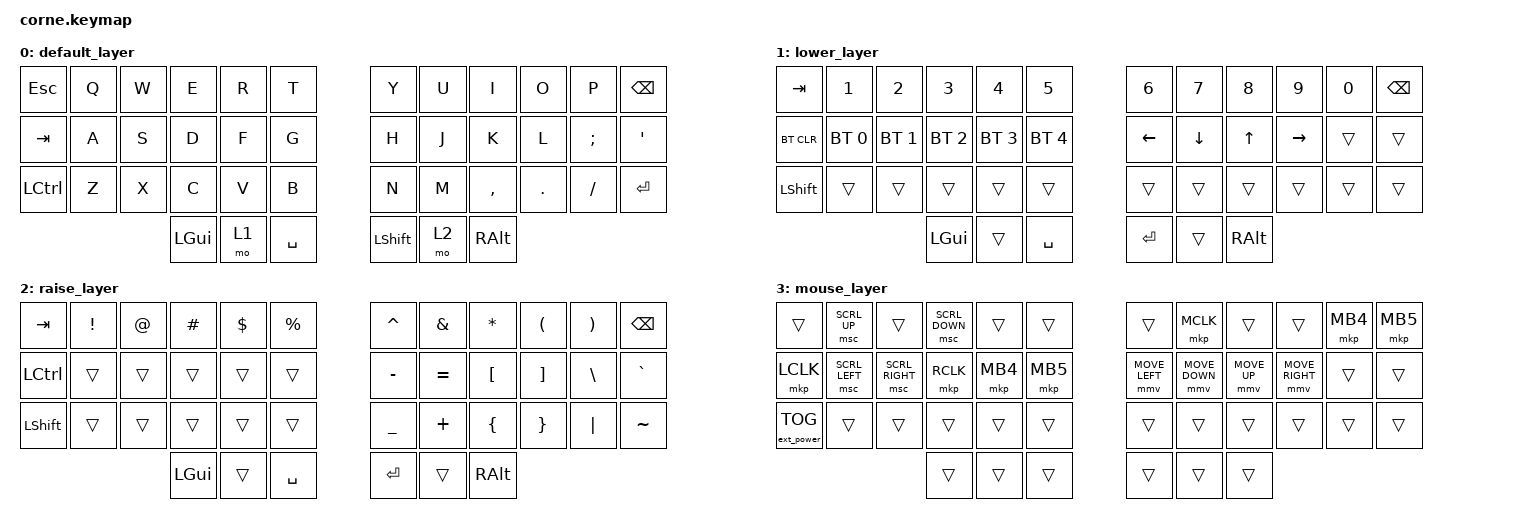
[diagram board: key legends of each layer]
/*
 * Copyright (c) 2020 The ZMK Contributors
 *
 * SPDX-License-Identifier: MIT
 */


#include <behaviors.dtsi>
#include <dt-bindings/zmk/keys.h>
#include <dt-bindings/zmk/bt.h>
#include <dt-bindings/zmk/pointing.h>
#include <dt-bindings/zmk/ext_power.h>

/ {
macros {
        ZMK_MACRO(passwd_macro,
            label = "LUBKRF_PASSWD";
            wait-ms = <30>;
            tap-ms = <30>;
            bindings = <&kp L &kp U &kp B &kp K &kp R &kp F>;
        )
        ZMK_MACRO(power_macro,
            label = "LUBKRF_power";
            wait-ms = <30>;
            tap-ms = <30>;
            bindings = <&ext_power EP_TOG>;
        )

    };
        keymap {
                compatible = "zmk,keymap";

                default_layer {
// -----------------------------------------------------------------------------------------
// |  TAB |  Q  |  W  |  E  |  R  |  T  |   |  Y  |  U   |  I  |  O  |  P  | BSPC |
// | CTRL |  A  |  S  |  D  |  F  |  G  |   |  H  |  J   |  K  |  L  |  ;  |  '   |
// | SHFT |  Z  |  X  |  C  |  V  |  B  |   |  N  |  M   |  ,  |  .  |  /  | ESC  |
//                    | GUI | LWR | SPC |   | ENT | RSE  | ALT |
                        bindings = <
   &kp ESC   &kp Q &kp W &kp E &kp R &kp T   &kp Y &kp U  &kp I     &kp O   &kp P    &kp BSPC
   &kp TAB   &kp A &kp S &kp D &kp F &kp G   &kp H &kp J  &kp K     &kp L   &kp SEMI &kp SQT
   &kp LCTRL  &kp Z &kp X &kp C &kp V &kp B   &kp N &kp M  &kp COMMA &kp DOT &kp FSLH  &kp RET
                  &kp LGUI &mo 1 &kp SPACE   &kp LSHFT &mo 2 &kp RALT
                        >;
                };
                lower_layer {
// -----------------------------------------------------------------------------------------
// |  TAB |  1  |  2  |  3  |  4  |  5  |   |  6  |  7  |  8  |  9  |  0  | BSPC |
// | BTCLR| BT1 | BT2 | BT3 | BT4 | BT5 |   | LFT | DWN |  UP | RGT |     |      |
// | SHFT |     |     |     |     |     |   |     |     |     |     |     |      |
//                    | GUI |     | SPC |   | ENT |     | ALT |
                        bindings = <
   &kp TAB    &kp N1       &kp N2       &kp N3       &kp N4       &kp N5         &kp N6   &kp N7   &kp N8 &kp N9    &kp N0 &kp BSPC
   &bt BT_CLR &bt BT_SEL 0 &bt BT_SEL 1 &bt BT_SEL 2 &bt BT_SEL 3 &bt BT_SEL 4   &kp LEFT &kp DOWN &kp UP &kp RIGHT &trans &trans
   &kp LSHFT  &trans       &trans       &trans       &trans       &trans         &trans   &trans   &trans &trans    &trans &trans
                                    &kp LGUI     &trans       &kp SPACE      &kp RET  &trans   &kp RALT
                        >;
                };

                raise_layer {
// -----------------------------------------------------------------------------------------
// |  TAB |  !  |  @  |  #  |  $  |  %  |   |  ^  |  &  |  *  |  (  |  )  | BSPC |
// | CTRL |     |     |     |     |     |   |  -  |  =  |  [  |  ]  |  \  |  `   |
// | SHFT |     |     |     |     |     |   |  _  |  +  |  {  |  }  | "|" |  ~   |
//                    | GUI |     | SPC |   | ENT |     | ALT |
                        bindings = <
   &kp  TAB  &kp EXCL &kp AT &kp HASH &kp DLLR &kp PRCNT   &kp CARET &kp AMPS  &kp ASTRK &kp LPAR &kp RPAR &kp BSPC
   &kp LCTRL &trans   &trans &trans   &trans   &trans      &kp MINUS &kp EQUAL &kp LBKT  &kp RBKT &kp BSLH &kp GRAVE
   &kp LSHFT &trans   &trans &trans   &trans   &trans      &kp UNDER &kp PLUS  &kp LBRC  &kp RBRC &kp PIPE &kp TILDE
                             &kp LGUI &trans   &kp SPACE   &kp RET   &trans    &kp RALT
                        >;
                };
                        // ==================== 新增的鼠标层 (Layer 3) ====================
        mouse_layer {
            bindings = <
   //---------------------------------------------------------------------------------------------------
   // | Exit Layer | Scroll Up | Scroll L/R | Scroll Down |            |             | |           | Middle Click |            |            | Back | Fwd  |
   // |------------|-----------|------------|-------------|------------|-------------|-|-----------|--------------|------------|------------|------|------|
   // | Left Click | Scroll L  | Scroll R   | Right Click | Back       | Fwd         | | Move Left | Move Down    | Move Up    | Move Right |      |      |
   // |------------|-----------|------------|-------------|------------|-------------|-|-----------|--------------|------------|------------|------|------|
   // |            |           |            |             |            |             | |           |              |            |            |      |      |
   // |------------|-----------|------------|-------------|------------|-------------|-|-----------|--------------|------------|------------|------|------|
   //                               |            |             |             | |           |              |            |
   //                               |------------|-------------|-------------|-|-----------|--------------|------------|
   &trans     &msc SCRL_UP  &trans        &msc SCRL_DOWN &trans       &trans         &trans      &mkp MCLK      &trans       &trans       &mkp MB4 &mkp MB5
   &mkp LCLK  &msc SCRL_LEFT &msc SCRL_RIGHT &mkp RCLK      &mkp MB4     &mkp MB5       &mmv MOVE_LEFT &mmv MOVE_DOWN &mmv MOVE_UP &mmv MOVE_RIGHT &trans &trans
   &ext_power EP_TOG    &trans        &trans        &trans         &trans       &trans         &trans      &trans         &trans       &trans       &trans &trans
                                             &trans       &trans        &trans        &trans      &trans         &trans
            >;
        };
        extra1 {
            status = "reserved";
        };

        extra2 {
            status = "reserved";
        };
        extra3 {
            status = "reserved";
        };
        extra4 {
            status = "reserved";
        };

        };
};
